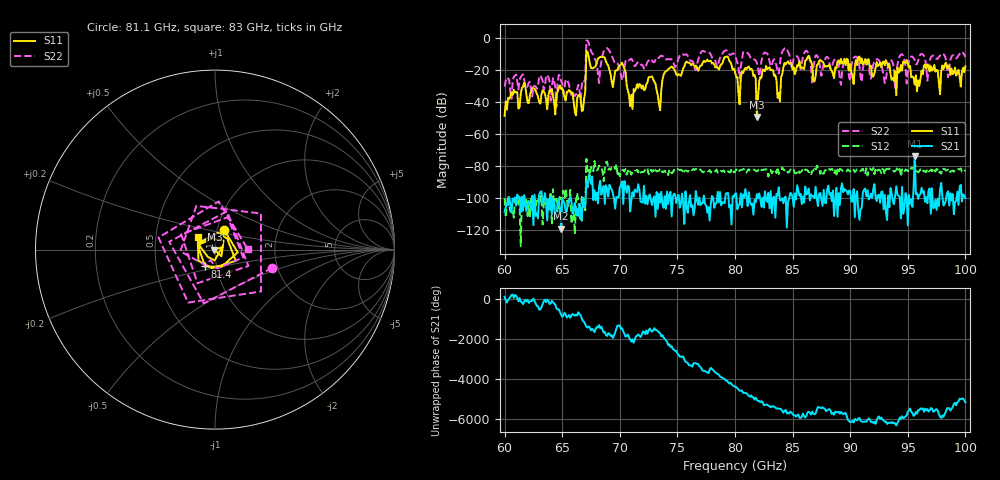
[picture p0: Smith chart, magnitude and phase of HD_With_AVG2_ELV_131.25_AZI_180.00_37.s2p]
! 11/25/2026 10:28:36 AM
! C:\ANRITSUVNA\TEMP\TEMP.S2P
! CHANNEL.1
! TR.MEASUREMENT
! RAW.DATA
# HZ S RI R 50.0
! FREQ.HZ  S11RE  S11IM  S21RE  S21IM  S12RE  S12IM  S22RE  S22IM
!; PortSelection: Port_12
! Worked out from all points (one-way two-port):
!   401 points, 60 GHz to 100 GHz, reference 50 ohm
!   highest |S21| = -74.04 dB at 95.6 GHz (marker M1); lowest = -119.0 dB at 64.9 GHz (marker M2)
!   lowest |S11| = -49.4 dB at 81.9 GHz (marker M3), VSWR 1.01, Z = 49.7 - j0.0484 ohm
!   |S11| at or under -10 dB: start of sweep to 67.09 GHz; 67.24 GHz to end of sweep
!   |S22| runs from -42.9 to -1.7 dB; largest |S21 - S12| = 0.0003
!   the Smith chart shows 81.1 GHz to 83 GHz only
!   S11 on the Smith chart (normalised r, x): 81.1 GHz: 1.08, +0.24; 81.4 GHz: 0.88, -0.17; 83 GHz: 0.82, +0.12
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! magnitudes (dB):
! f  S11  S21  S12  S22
! 60 GHz  -48.7  -108.5  -100.2  -30.5
! 64.9 GHz  -31.9  -119.0  -100.9  -26.8
! 66.7 GHz  -45.7  -114.1  -99.3  -29.5
! 67.3 GHz  -12.1  -85.7  -81.2  -3.1
! 68.4 GHz  -11.8  -97.9  -80.9  -14.7
! 68.9 GHz  -16.4  -94.1  -77.2  -6.5
! 70.3 GHz  -17.5  -103.7  -82.4  -25.5
! 70.9 GHz  -42.8  -108.4  -83.7  -13.5
! 72.7 GHz  -24.4  -101.3  -82.4  -13.3
! 73.4 GHz  -41.3  -97.3  -83.0  -12.6
! 74.4 GHz  -18.6  -96.1  -82.9  -13.4
! 80 GHz  -21.2  -97.4  -83.7  -11.0
! 81.1 GHz  -18.4  -105.0  -82.8  -9.5
! 81.4 GHz  -19.3  -104.1  -82.8  -13.0
! 81.9 GHz  -49.4  -97.5  -83.3  -15.7
! 83 GHz  -18.4  -106.3  -83.0  -14.8
! 83.8 GHz  -34.4  -93.2  -84.9  -22.3
! 84.5 GHz  -15.5  -118.4  -82.3  -7.0
! 86.7 GHz  -17.6  -98.9  -83.1  -27.9
! 93.4 GHz  -16.3  -105.7  -81.6  -15.6
! 95.6 GHz  -29.3  -74.0  -77.0  -13.7
! 100 GHz  -17.9  -100.0  -82.6  -12.1
